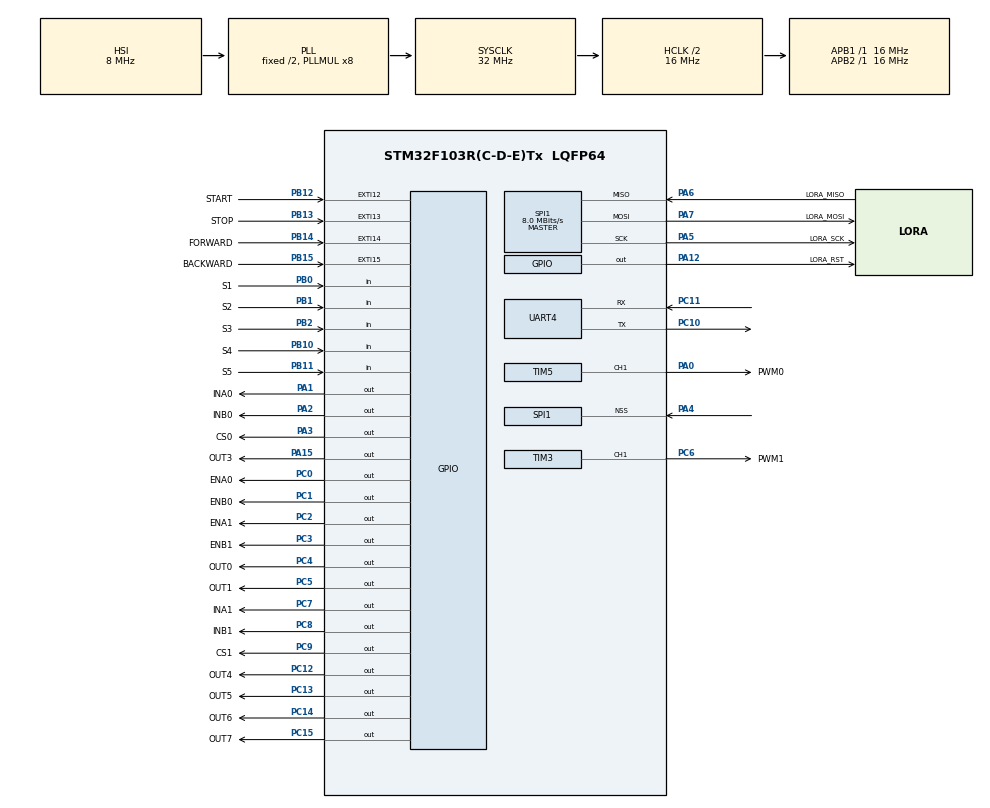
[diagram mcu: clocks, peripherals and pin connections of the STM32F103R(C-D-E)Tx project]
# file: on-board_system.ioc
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Mcu.Family=STM32F1
Mcu.Name=STM32F103R(C-D-E)Tx
Mcu.Package=LQFP64
NVIC.EXTI15_10_IRQn=true\:0\:0\:false\:false\:true\:true\:true
NVIC.PriorityGroup=NVIC_PRIORITYGROUP_4
NVIC.TIM2_IRQn=true\:2\:0\:true\:false\:true\:true\:true
NVIC.TIM6_IRQn=true\:1\:0\:true\:false\:true\:true\:true
NVIC.UART4_IRQn=true\:0\:0\:false\:false\:true\:true\:true
PA0-WKUP.GPIO_Label=PWM0
PA0-WKUP.GPIO_Speed=GPIO_SPEED_FREQ_HIGH
PA0-WKUP.Signal=S_TIM5_CH1
PA1.GPIO_Label=INA0
PA1.Signal=GPIO_Output
PA12.GPIO_Label=LORA_RST
PA12.Signal=GPIO_Output
PA13.Mode=Serial_Wire
PA13.Signal=SYS_JTMS-SWDIO
PA14.Mode=Serial_Wire
PA14.Signal=SYS_JTCK-SWCLK
PA15.GPIO_Label=OUT3
PA15.Signal=GPIO_Output
PA2.GPIO_Label=INB0
PA2.Signal=GPIO_Output
PA3.GPIO_Label=CS0
PA3.Signal=GPIO_Output
PA4.Mode=NSS_Signal_Hard_Input
PA4.Signal=SPI1_NSS
PA5.GPIO_Label=LORA_SCK
PA5.Mode=Full_Duplex_Master
PA5.Signal=SPI1_SCK
PA6.GPIO_Label=LORA_MISO
PA6.Mode=Full_Duplex_Master
PA6.Signal=SPI1_MISO
PA7.GPIO_Label=LORA_MOSI
PA7.Mode=Full_Duplex_Master
PA7.Signal=SPI1_MOSI
PB0.GPIO_Label=S1
PB0.Signal=GPIO_Input
PB1.GPIO_Label=S2
PB1.Signal=GPIO_Input
PB10.GPIO_Label=S4
PB10.Signal=GPIO_Input
PB11.GPIO_Label=S5
PB11.Signal=GPIO_Input
PB12.GPIO_Label=START
PB12.GPIO_ModeDefaultEXTI=GPIO_MODE_IT_FALLING
PB12.GPIO_PuPd=GPIO_NOPULL
PB12.Signal=GPXTI12
PB13.GPIO_Label=STOP
PB13.GPIO_ModeDefaultEXTI=GPIO_MODE_IT_FALLING
PB13.Signal=GPXTI13
PB14.GPIO_Label=FORWARD
PB14.Signal=GPXTI14
PB15.GPIO_Label=BACKWARD
PB15.Signal=GPXTI15
PB2.GPIO_Label=S3
PB2.Signal=GPIO_Input
PC0.GPIO_Label=ENA0
PC0.Signal=GPIO_Output
PC1.GPIO_Label=ENB0
PC1.Signal=GPIO_Output
PC10.Mode=Asynchronous
PC10.Signal=UART4_TX
PC11.Mode=Asynchronous
PC11.Signal=UART4_RX
PC12.GPIO_Label=OUT4
PC12.Signal=GPIO_Output
PC13-TAMPER-RTC.GPIO_Label=OUT5
PC13-TAMPER-RTC.Signal=GPIO_Output
PC14-OSC32_IN.GPIO_Label=OUT6
PC14-OSC32_IN.Signal=GPIO_Output
PC15-OSC32_OUT.GPIO_Label=OUT7
PC15-OSC32_OUT.Signal=GPIO_Output
PC2.GPIO_Label=ENA1
PC2.Signal=GPIO_Output
PC3.GPIO_Label=ENB1
PC3.Signal=GPIO_Output
PC4.GPIO_Label=OUT0
PC4.Signal=GPIO_Output
PC5.GPIO_Label=OUT1
PC5.Signal=GPIO_Output
PC6.GPIO_Label=PWM1
PC6.Signal=S_TIM3_CH1
PC7.GPIO_Label=INA1
PC7.Signal=GPIO_Output
PC8.GPIO_Label=INB1
PC8.Signal=GPIO_Output
PC9.GPIO_Label=CS1
PC9.Signal=GPIO_Output
PD0-OSC_IN.Mode=HSE-External-Oscillator
PD0-OSC_IN.Signal=RCC_OSC_IN
PD1-OSC_OUT.Mode=HSE-External-Oscillator
PD1-OSC_OUT.Signal=RCC_OSC_OUT
ProjectManager.HeapSize=0x200
ProjectManager.StackSize=0x400
ProjectManager.TargetToolchain=MDK-ARM V5
RCC.AHBCLKDivider=RCC_SYSCLK_DIV2
RCC.AHBFreq_Value=16000000
RCC.APB1Freq_Value=16000000
RCC.APB1TimFreq_Value=16000000
RCC.APB2Freq_Value=16000000
RCC.APB2TimFreq_Value=16000000
RCC.HCLKFreq_Value=16000000
RCC.PLLMUL=RCC_PLL_MUL8
RCC.SYSCLKFreq_VALUE=32000000
RCC.SYSCLKSource=RCC_SYSCLKSOURCE_PLLCLK
RCC.USBFreq_Value=32000000
SH.S_TIM3_CH1.0=TIM3_CH1,PWM Generation1 CH1
SH.S_TIM5_CH1.0=TIM5_CH1,PWM Generation1 CH1
SPI1.CalculateBaudRate=8.0 MBits/s
SPI1.Direction=SPI_DIRECTION_2LINES
SPI1.Mode=SPI_MODE_MASTER
SPI1.VirtualNSS=VM_NSSHARD
SPI1.VirtualType=VM_MASTER
TIM2.AutoReloadPreload=TIM_AUTORELOAD_PRELOAD_ENABLE
TIM2.Period=999
TIM2.Prescaler=1599
TIM3.AutoReloadPreload=TIM_AUTORELOAD_PRELOAD_ENABLE
TIM3.Channel-PWM\ Generation1\ CH1=TIM_CHANNEL_1
TIM3.Period=999
TIM3.Prescaler=329
TIM3.TIM_MasterOutputTrigger=TIM_TRGO_UPDATE
TIM5.AutoReloadPreload=TIM_AUTORELOAD_PRELOAD_ENABLE
TIM5.Channel-PWM\ Generation1\ CH1=TIM_CHANNEL_1
TIM5.Period=999
TIM5.Prescaler=329
TIM5.TIM_MasterOutputTrigger=TIM_TRGO_UPDATE
TIM6.Period=999
TIM6.Prescaler=1599
UART4.VirtualMode=Asynchronous
VP_TIM2_VS_ClockSourceINT.Mode=Internal
VP_TIM6_VS_ClockSourceINT.Mode=Enable_Timer
board=custom

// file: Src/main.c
/* USER CODE BEGIN Header */
/**
  ******************************************************************************
  * @file           : main.c
  * @brief          : Main program body
  ******************************************************************************
  * @attention
  *
  * <h2><center>&copy; Copyright (c) 2020 STMicroelectronics.
  * All rights reserved.</center></h2>
  *
  * This software component is licensed by ST under BSD 3-Clause license,
  * the "License"; You may not use this file except in compliance with the
  * License. You may obtain a copy of the License at:
  *                        opensource.org/licenses/BSD-3-Clause
  *
  ******************************************************************************
  */
/* USER CODE END Header */

#include "main.h"
#include "spi.h"
#include "tim.h"
#include "usart.h"
#include "gpio.h"

/* USER CODE BEGIN Includes */
#include <stdio.h>
#include <stdlib.h>
#include <string.h>
#include <stdbool.h>
#include "driver_motor.h"
#include "Flash.h"
/* USER CODE END Includes */

/* USER CODE BEGIN PTD */
typedef struct {
	int target;
	int previous;
	int real;
} speed;

/* USER CODE END PTD */

/* USER CODE BEGIN PV */
int i ;			//bien dem
char RX_buffer[RX_MAX_BUFFER_SIZE];
int len;										//
char Rx_Ind;								//bien dem chuoi nhan dc tu uart
uint8_t Rx_data[2];					//khai bao bien de nhan tu thanh ghi DR cua uart4
int uart_flag = 0;					//bien co ngat cua uart khi nhan du 8 byte
volatile int Target_Speed = 0;						//bien gia tri van toc yeu cau robot chay
volatile int Real_Speed = 0;						//bien gia tri van toc duoc cap cho toc do robot
volatile int Pre_Speed = 0;
int temp_speed;													//bien trung gian de luu gia tri cua toc do robot
uint8_t sensor12;
uint8_t sensor35;
bool stop_bit = false;									//bien trang thai dang leo mep
int status = 0;							//bien trang thai cua robot:
														/*
														1: standing by khi nhan nut start
														2: forward
														3: backward
														0: default when start operation
														*/

/* USER CODE END PV */

void SystemClock_Config(void);

/* USER CODE BEGIN 0 */
//uart4 interrupt handle voi
void HAL_UART_RxCpltCallback(UART_HandleTypeDef *huart){
	uint8_t i = 0;
	static uint8_t uart_flag = 0;
	if(huart->Instance == huart4.Instance){

		if(Rx_Ind == 0){
			for(i = 0; i < RX_MAX_BUFFER_SIZE;i++){
				RX_buffer[i] = 0;
			}
		}
		else{
			__NOP();
		}
		if(Rx_data[0]!='X'){			//
			RX_buffer[Rx_Ind] = Rx_data[0];
			Rx_Ind++;
		}
		else{		//KHI KI TU LA 'X'
			if(Rx_Ind == RX_MAX_BUFFER_SIZE){
				uart_flag = 1;
			}
			else{
				UART_SendStr("lack of lenghth\n");
			}
			Rx_Ind = 0;
		}
		//only when status = 1 (stand by mode)
		if(status == 1 && uart_flag == 1){
			if(RX_buffer[0]=='S'&RX_buffer[1]=='P'&RX_buffer[2]=='E'&RX_buffer[4]=='D'){
					Target_Speed = (RX_buffer[5]-48)*100 + (RX_buffer[6]-48)*10 + (RX_buffer[7]-48);
					Target_Speed = (Target_Speed > MAX_SPEED) ? MAX_SPEED : Target_Speed;
			}
			else if(RX_buffer[0]=='C'&RX_buffer[1]=='L'&RX_buffer[5]=='W'&RX_buffer[6]=='E'&RX_buffer[7]=='T'){
					HAL_GPIO_WritePin(OUT0_GPIO_Port,OUT0_Pin,GPIO_PIN_SET);
			}
			else if(RX_buffer[0]=='C'&RX_buffer[1]=='L'&RX_buffer[5]=='D'&RX_buffer[6]=='R'&RX_buffer[7]=='Y'){
					HAL_GPIO_WritePin(OUT0_GPIO_Port,OUT0_Pin,GPIO_PIN_RESET);
			}
			else{
				__NOP();
			}
			uart_flag = 0;
		}
		else{
			__NOP();
		}
		HAL_UART_Receive_IT(&huart4,Rx_data,1);

	}
}

void HAL_TIM_PeriodElapsedCallback(TIM_HandleTypeDef *htim){
	uint8_t c;
	//inner timer take response to change speed of motor

	//tim2 interrupt handle void
	if(htim->Instance == htim2.Instance){
				if(Real_Speed < Target_Speed){
					Real_Speed++;
				}
				else if(Real_Speed == Target_Speed){
					Real_Speed = Target_Speed;
				}
				else if(Real_Speed > Target_Speed){
					Real_Speed--;
				}
				else{
					__NOP();
				}
	}
	//timer 6 to read sensor
	if(htim->Instance == htim6.Instance){
		sensor12 = (HAL_GPIO_ReadPin(S1_GPIO_Port,S1_Pin) << 1) | HAL_GPIO_ReadPin(S2_GPIO_Port,S2_Pin);
		sensor35 = (HAL_GPIO_ReadPin(S5_GPIO_Port,S5_Pin) << 1) | HAL_GPIO_ReadPin(S3_GPIO_Port,S3_Pin);
		c++;
		if(c==100){
			Flash_Write_Int(DATA_ADDRESS,Target_Speed);
		}
	}
	//

}

/* USER CODE END 0 */

/*

*/
int main(void)
{

  /* MCU Configuration--------------------------------------------------------*/

  /* Reset of all peripherals, Initializes the Flash interface and the Systick. */
  HAL_Init();

  /* Configure the system clock */
  SystemClock_Config();

  /* Initialize all configured peripherals */
  MX_GPIO_Init();
  MX_SPI1_Init();
  MX_TIM5_Init();
  MX_UART4_Init();
  MX_TIM3_Init();
  MX_TIM2_Init();
  MX_TIM6_Init();
  /* USER CODE BEGIN 2 */
	UART_SendStr("\nHello World!\n");
	//initialize for driver motor
	driver_init();
	HAL_UART_Receive_IT(&huart4,Rx_data,1);	// enable for receive interrupt
	HAL_TIM_Base_Start_IT(&htim6);			//timer interrupt to read sensor
  /* USER CODE END 2 */

  /* Infinite loop */
  /* USER CODE BEGIN WHILE */
	static uint8_t pre_sensor12;
	static uint8_t pre_sensor35;
	Real_Speed = 0;
	uint32_t temp ;
	/*Read data store from flash memory*/
	temp = Flash_Read_Int(DATA_ADDRESS);
	if(temp == 0)
	{
		Target_Speed = DEFAULT_SPEED_VALUE;
	}
	else{

	}
	/**/

  while (1)
  {
		if(HAL_GPIO_ReadPin(START_GPIO_Port,START_Pin)){
			//when detect start button
			HAL_Delay(20);
			while(HAL_GPIO_ReadPin(START_GPIO_Port,START_Pin));
			status = 1;
			UART_SendStr("Start\n");
			pre_sensor12 = pre_sensor35 = 5;
		}
		else{
			if(status == 1){
				//standing by mode
				if(stop_bit){
					Pre_Speed = Target_Speed;
					Target_Speed = 0;
					while(Real_Speed!=0);
					if(Real_Speed == 0){
						Target_Speed = Pre_Speed;
						HAL_TIM_Base_Stop_IT(&htim2);
						stop_bit = false;
						pre_sensor12 = pre_sensor35 = 5;
					}
					else{
						__NOP();
					}
				}
				else{
					__NOP();
				}
				/**/
			}
			else if(status == 2){

				/*Run Mode*/
				/*warining if place robot incorrectly*/

					//save the previous value of sensor12 before change
					switch(sensor12){

							case 0:						//sensor1 == 0 and sensor2 == 0
									/*run*/
									if(pre_sensor12 == 5){								//run after set up successfully
										HAL_TIM_Base_Start_IT(&htim2);			//start increase real_speed
									}
									else if(pre_sensor12 == 2){						//
										if(Real_Speed != Target_Speed){
											Target_Speed = Real_Speed;
										}
										else{
											__NOP();
										}

									}
									else if(pre_sensor12 == 1){
										while(sensor35==0);
										Target_Speed = Pre_Speed;
									}
									else{
										__NOP();
									}
									break;

							case 2:						//sensor1 == 1 and sensor2 == 0
									if(pre_sensor12 == 0){										//when robot locate at the edge of panel and aimed to climb the edges of 2 panel
										Pre_Speed = Target_Speed;								//store value of speed
										Target_Speed = EDGE_SPEED_FORWARD;			//
									}
									else{
										__NOP();
									}
									break;

							case 1:						//sensor1 == 0 and sensor2 == 1
//									if(pre_sensor12 == 0){
//										Target_Speed = Pre_Speed;
//									}
//									else{
//										__NOP();
//									}
									break;
							case 3:						//sensor1 == 1 and sensor2 == 1 (stop)
									if(pre_sensor12 == 2){			//ready to fall down
										Target_Speed = 0;
										while(Real_Speed!=0);			//wait until real_speed = 0, change status of robot from run forward to invalid position
										status = 4;
									}
									else {
										__NOP();
									}
									break;
							default:
									//////
									break;

						}
							//store perious value of sensor to compare
						pre_sensor12 = (sensor12!=pre_sensor12) ? sensor12 : pre_sensor12;
				}
					/****/
				else if(status == 3){

					switch(sensor35){
						case 0:										//sensor5 == 0 and sensor3 == 0
							if(pre_sensor35 == 5){
								HAL_TIM_Base_Start_IT(&htim2);
							}
							else if(pre_sensor35 == 2){
										if(Real_Speed != Target_Speed){
											Target_Speed = Real_Speed;
										}
										else{
											__NOP();
										}
							}
							else if(pre_sensor35 == 1){
								Target_Speed = Target_Speed;
							}
							else {
								__NOP();
							}
							break;
						case 2:										//sensor5 == 1 and sensor3 == 0
							if(pre_sensor35 == 0){
								Pre_Speed = Target_Speed;
								Target_Speed = EDGE_SPEED_BACKWARD;
							}
							else{
								__NOP();
							}
							break;
						case 1:										//sensor5 == 0 and sensor3 == 1
							if(pre_sensor35 == 0){
								Target_Speed = Pre_Speed;
							}
							else{
								__NOP();
							}
							break;
						case 3:										//sensor5 == 1 and sensor3 == 1
							if(pre_sensor35 == 2){
								Target_Speed = 0;
								while(Real_Speed!=0);						//wait until real_speed = 0, change status of robot from run forward to invalid position
								status = 4;
							}
							else{
								__NOP();
							}
							break;

						default:
							////
							break;
					}
						/****/
					pre_sensor35 = (sensor35!=pre_sensor35) ? sensor35 : pre_sensor35;
						/****/
				}
				else if(status == 4){
					while(HAL_TIM_Base_Stop_IT(&htim2)!=HAL_OK);
					//Target_Speed = Pre_Speed;
				}
				else{		//
						__NOP();
				}
					/****/
				driver_run(Real_Speed);
					/****/

			}
    /* USER CODE END WHILE */

	}
}

void SystemClock_Config(void)
{
  RCC_OscInitTypeDef RCC_OscInitStruct = {0};
  RCC_ClkInitTypeDef RCC_ClkInitStruct = {0};

  /** Initializes the CPU, AHB and APB busses clocks
  */
  RCC_OscInitStruct.OscillatorType = RCC_OSCILLATORTYPE_HSI;
  RCC_OscInitStruct.HSIState = RCC_HSI_ON;
  RCC_OscInitStruct.HSICalibrationValue = RCC_HSICALIBRATION_DEFAULT;
  RCC_OscInitStruct.PLL.PLLState = RCC_PLL_ON;
  RCC_OscInitStruct.PLL.PLLSource = RCC_PLLSOURCE_HSI_DIV2;
  RCC_OscInitStruct.PLL.PLLMUL = RCC_PLL_MUL8;
  if (HAL_RCC_OscConfig(&RCC_OscInitStruct) != HAL_OK)
  {
    Error_Handler();
  }
  /** Initializes the CPU, AHB and APB busses clocks
  */
  RCC_ClkInitStruct.ClockType = RCC_CLOCKTYPE_HCLK|RCC_CLOCKTYPE_SYSCLK
                              |RCC_CLOCKTYPE_PCLK1|RCC_CLOCKTYPE_PCLK2;
  RCC_ClkInitStruct.SYSCLKSource = RCC_SYSCLKSOURCE_PLLCLK;
  RCC_ClkInitStruct.AHBCLKDivider = RCC_SYSCLK_DIV2;
  RCC_ClkInitStruct.APB1CLKDivider = RCC_HCLK_DIV1;
  RCC_ClkInitStruct.APB2CLKDivider = RCC_HCLK_DIV1;

  if (HAL_RCC_ClockConfig(&RCC_ClkInitStruct, FLASH_LATENCY_1) != HAL_OK)
  {
    Error_Handler();
  }
}

void Error_Handler(void)
{
}

/************************ (C) COPYRIGHT STMicroelectronics *****END OF FILE****/
